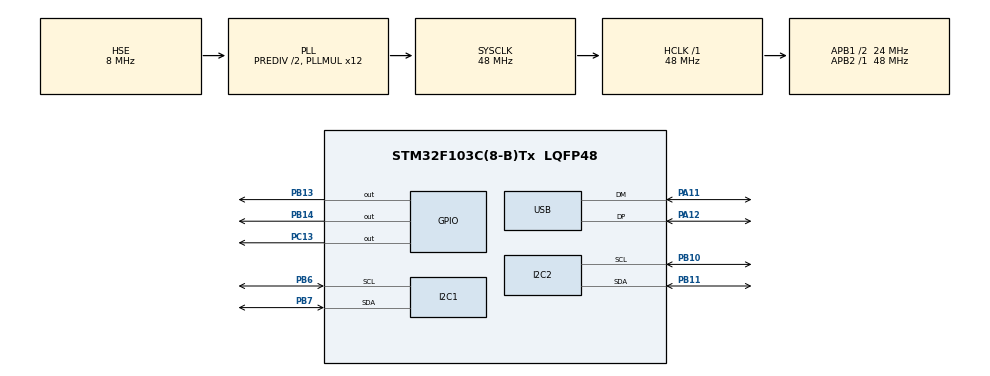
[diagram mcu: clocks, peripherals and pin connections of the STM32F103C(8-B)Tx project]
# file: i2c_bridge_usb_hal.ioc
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I2C1.OwnAddress=32
Mcu.Family=STM32F1
Mcu.Name=STM32F103C(8-B)Tx
Mcu.Package=LQFP48
NVIC.I2C1_ER_IRQn=true\:2\:0\:true\:false\:true\:true\:true\:true
NVIC.I2C1_EV_IRQn=true\:2\:0\:true\:false\:true\:true\:true\:true
NVIC.I2C2_ER_IRQn=true\:1\:0\:true\:false\:true\:true\:true\:true
NVIC.I2C2_EV_IRQn=true\:1\:0\:true\:false\:true\:true\:true\:true
NVIC.PriorityGroup=NVIC_PRIORITYGROUP_4
NVIC.USB_HP_CAN1_TX_IRQn=true\:0\:0\:false\:false\:true\:true\:true\:true
NVIC.USB_LP_CAN1_RX0_IRQn=true\:0\:0\:false\:false\:true\:false\:true\:true
PA11.Mode=Device
PA11.Signal=USB_DM
PA12.Mode=Device
PA12.Signal=USB_DP
PA13.Mode=Serial_Wire
PA13.Signal=SYS_JTMS-SWDIO
PA14.Mode=Serial_Wire
PA14.Signal=SYS_JTCK-SWCLK
PB10.Mode=I2C
PB10.Signal=I2C2_SCL
PB11.Mode=I2C
PB11.Signal=I2C2_SDA
PB13.GPIO_Speed=GPIO_SPEED_FREQ_MEDIUM
PB13.Signal=GPIO_Output
PB14.GPIO_Speed=GPIO_SPEED_FREQ_MEDIUM
PB14.Signal=GPIO_Output
PB6.Mode=I2C
PB6.Signal=I2C1_SCL
PB7.Mode=I2C
PB7.Signal=I2C1_SDA
PC13-TAMPER-RTC.GPIO_Speed=GPIO_SPEED_FREQ_MEDIUM
PC13-TAMPER-RTC.PinState=GPIO_PIN_SET
PC13-TAMPER-RTC.Signal=GPIO_Output
PD0-OSC_IN.Mode=HSE-External-Oscillator
PD0-OSC_IN.Signal=RCC_OSC_IN
PD1-OSC_OUT.Mode=HSE-External-Oscillator
PD1-OSC_OUT.Signal=RCC_OSC_OUT
ProjectManager.HeapSize=0x200
ProjectManager.StackSize=0x400
ProjectManager.TargetToolchain=STM32CubeIDE
RCC.AHBFreq_Value=48000000
RCC.APB1CLKDivider=RCC_HCLK_DIV2
RCC.APB1Freq_Value=24000000
RCC.APB1TimFreq_Value=48000000
RCC.APB2Freq_Value=48000000
RCC.APB2TimFreq_Value=48000000
RCC.HCLKFreq_Value=48000000
RCC.HSEDivPLL=RCC_HSE_PREDIV_DIV2
RCC.PLLMUL=RCC_PLL_MUL12
RCC.PLLSourceVirtual=RCC_PLLSOURCE_HSE
RCC.SYSCLKFreq_VALUE=48000000
RCC.SYSCLKSource=RCC_SYSCLKSOURCE_PLLCLK
RCC.USBFreq_Value=48000000
USB_DEVICE.CLASS_NAME_FS=CDC
USB_DEVICE.VirtualMode=Cdc
USB_DEVICE.VirtualModeFS=Cdc_FS
VP_USB_DEVICE_VS_USB_DEVICE_CDC_FS.Mode=CDC_FS
board=custom

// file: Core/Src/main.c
/* USER CODE BEGIN Header */
/**
  ******************************************************************************
  * @file           : main.c
  * @brief          : Main program body
  ******************************************************************************
  * @attention
  *
  * Copyright (c) 2025 STMicroelectronics.
  * All rights reserved.
  *
  * This software is licensed under terms that can be found in the LICENSE file
  * in the root directory of this software component.
  * If no LICENSE file comes with this software, it is provided AS-IS.
  *
  ******************************************************************************
  */
/* USER CODE END Header */
#include "main.h"
#include "usb_device.h"

/* USER CODE BEGIN Includes */
#include "usbd_cdc_if.h"
/* USER CODE END Includes */

/* USER CODE BEGIN PTD */
/**

█░░ █ █▀▄▀█ █ ▀█▀ ▄▀█ ▀█▀ █ █▀█ █▄░█ █▀ ░   █▀▀ █▀█ █▄░█ █▀ ▀█▀ █▀█ ▄▀█ █ █▄░█ ▀█▀ █▀
█▄▄ █ █░▀░█ █ ░█░ █▀█ ░█░ █ █▄█ █░▀█ ▄█ █   █▄▄ █▄█ █░▀█ ▄█ ░█░ █▀▄ █▀█ █ █░▀█ ░█░ ▄█
maximum data length of the Master (I2C2) = 1024bytes
maximum data Length of the Slave = 256bytes (when more - wrap around)
*/
/*I M P O R T A N T : Set the
  #define USBD_CUSTOM_HID_REPORT_DESC_SIZE     38
  in the usbd_conf.h file if a PC not see your device
  */
// USB externs
extern USBD_HandleTypeDef hUsbDeviceFS;
//I2C haeders
volatile wrp_i2c_slave_header i2cSlaveHeader;
volatile wrp_i2c_master_header i2cMasterHeader;

  unsigned char usb_buffer_for_report_dev[68];
  unsigned char usb_buffer_for_report_host[68];
//volatile unsigned char usb_buffer_for_report[68];

  uint8_t i2cRxSlaveBuffer[256];
  uint8_t i2cTxSlaveBuffer[256]= { "Alice was beginning to get very tired of sitting by her sister on the bank, and of having nothing to do: once or twice she had peeped into the book her sister was reading, but it had no pictures or conversations in it, 'and what is the use of a book,'.."};

  uint8_t i2cRxMasterBuffer[1024]={0};
  uint8_t i2cTxMasterBuffer[1204]={0};

LL_I2C_InitTypeDef I2C_InitStructSlave = {0};

LL_I2C_InitTypeDef I2C_InitStructMaster = {0};

//USB semaphore
volatile uint32_t adapterSemaphoreUSB;
//I2C semaphore
volatile uint32_t adapterSemaphoreI2C;

 statesHandle i2cAdapterStates;

/* USER CODE END PTD */

void SystemClock_Config(void);
static void MX_GPIO_Init(void);
static void MX_I2C1_Init(void);
static void MX_I2C2_Init(void);
/* USER CODE BEGIN PFP */

//a****callback***for*****USB**********CDC***
void USB_CDC_RxHandler(uint8_t* Buf, uint32_t Len) {
	// Copy data from USB internal buffer
	memcpy (usb_buffer_for_report_dev, Buf, Len);
	 //clear a semaphore
	adapterSemaphoreUSB &= ~semaphore_await_rx_usb;

}

/* H E L P:
 (1) When a Compiler doesn`t see ""usbd_customhid.h" file, right click on
 Project Explorer->Properties->MCU GCC Compiler->Include paths
 and add "../Middlewares/ST/STM32_USB_Device_Library/Class/CustomHID/Inc"
 (2) To add USB write complete callback,
   (A)open the "usbd_cdc_if.c" file
   and insert declaration:
   	   	   __weak void CDC_TxCpltCallback(void) {

   	   	   }
   (B)Call this function in ../Middlewares/ST/STM32_USB_Device_Library/Class/CDC/Src/usbd_cdc.c file
   in function: static uint8_t  USBD_CDC_DataIn()
  .....
  else
    {
      hcdc->TxState = 0U;
     CDC_TxCpltCallback();  //call here!

    }
    (C) Re-define this function in main.c:
    void CDC_TxCpltCallback(void) {
    adapterSemaphoreUSB &= ~semaphore_await_tx_usb;
}

 * */
void CDC_TxCpltCallback (void) {
    adapterSemaphoreUSB &= ~semaphore_await_tx_usb;
}

void i2c_usr_slave_init (volatile wrp_i2c_slave_header*   header) {
	 //disable I2C
	 header->hDevice->CR1 &= ~I2C_CR1_PE;
  //write own address
	 header->hDevice->OAR1 = header->i2cSlaveAddress;
  //enable acknowledgements
	 header->hDevice->CR1 |=  I2C_CR1_ACK;
	 //enable event interrupts and bufer interrupts
	 header->hDevice->CR2 |= I2C_CR2_ITEVTEN|I2C_CR2_ITBUFEN|I2C_CR2_ITERREN;
	  //turn I2C on, enable acknowledge
	 header->hDevice->CR1 |= I2C_CR1_PE|I2C_CR1_ACK;
}

void i2c_usr_master_init (volatile wrp_i2c_master_header* header) {
	 //enable own address
	 header->hDevice->CR1 &= ~I2C_CR1_PE;
	  //own address equals zero - master
	 header->hDevice->CR1 |=  I2C_CR1_ACK;
	 //enable event interrupts and bufer interrupts
	 header->hDevice->CR2 |= I2C_CR2_ITEVTEN|I2C_CR2_ITBUFEN|I2C_CR2_ITERREN;
	  //turn I2C on, enable acknowledge
	 header->hDevice->CR1 |= I2C_CR1_PE|I2C_CR1_ACK;

}

void resetI2cSetSpeedMaster (volatile wrp_i2c_master_header* mHeader, LL_I2C_InitTypeDef *mInitStruct, uint32_t speed) {

      //reset master
         I2C2->CR1 |= I2C_CR1_SWRST;
		   HAL_Delay(2);
		   I2C2->CR1  = 0;
			///set speed
		   mInitStruct->ClockSpeed = speed;
		 LL_I2C_Init(I2C2, mInitStruct);
		 i2c_usr_master_init(mHeader);

}

void resetI2cSetSpeedSlave (volatile wrp_i2c_slave_header* sHeader, LL_I2C_InitTypeDef *sInitStruct, uint32_t speed, uint8_t addr ) {
	//reset slave
	        I2C1->CR1 |= I2C_CR1_SWRST;
	      	   HAL_Delay(2);
	      	   I2C1->CR1  = 0;
	      	   	///set speed
	      	   sInitStruct->ClockSpeed = speed;
	      	   sInitStruct->OwnAddress1 = addr;
	      	   sHeader->i2cSlaveAddress = addr;
	      	 LL_I2C_Init(I2C1, sInitStruct);
	      	 i2c_usr_slave_init(sHeader);
}

void greenLedOn (void) {
	GPIOC->BSRR = GPIO_BSRR_BR13;
}

void greenLedOff (void) {
	GPIOC->BSRR = GPIO_BSRR_BS13;
}

uint8_t writeI2cAndWaitEnd (volatile wrp_i2c_master_header* i2cHeader, unsigned char address,   unsigned char* bufferPtr, unsigned short amountOfData) {
	//for safety:
				if (amountOfData >= i2cHeader->masterI2cBufferLimit){
					amountOfData = i2cHeader->masterI2cBufferLimit;
				}
   //clean old saved flags:
	i2cHeader->i2cMasterErrorFlags = 0;
 //set memory address
	i2cHeader->i2cTxMasterBuffer = bufferPtr;
  //set slave address-:
	i2cHeader->i2cMasterAddress = address;
  //set write mode:
	i2cHeader->WriteFlag = 1;
  //set amount of data:
	i2cHeader->i2cMasterTxPacketLength = amountOfData;
  //set the semaphore
	adapterSemaphoreI2C |= semaphore_await_tx_i2c;
	//start transaction:
	i2cHeader->hDevice->CR1 |= I2C_CR1_START;
	//wait until all the data will be sent. Now is time to send STOP command:
	while (adapterSemaphoreI2C & semaphore_await_tx_i2c){}
	//await until busy to stop sequence complete:
	while (i2cHeader->hDevice->SR2 & I2C_SR2_BUSY){}
	//checking for errors:
	switch (i2cHeader->i2cMasterErrorFlags) {
	case I2C_SR1_AF:
		return adapter_AF;
		break;
	case I2C_SR1_BERR:
		return adapter_BERR;
	     break;
	case I2C_SR1_ARLO:
		return adapter_ARLO;
		break;
	case I2C_SR1_OVR:
		return adapter_OVR;
		 break;
	default:
		return 0;
	}

}

int readI2cAndWaitEnd (volatile wrp_i2c_master_header* i2cHeader, unsigned char address,   unsigned char* bufferPtr, unsigned short amountOfData) {
	//for safety
	if (amountOfData >= i2cHeader->masterI2cBufferLimit){
						amountOfData = i2cHeader->masterI2cBufferLimit;
	}
	//clean old saved flags:
		i2cHeader->i2cMasterErrorFlags = 0;
	 //set memory address
		i2cHeader->i2cRxMasterBuffer = bufferPtr;
	  //set slave address-:
		i2cHeader->i2cMasterAddress = address;
	  //set receiver mode
		i2cHeader->WriteFlag = 0;
	  //set amount of data:
		i2cHeader->i2cMasterRxPacketLength = amountOfData;
	  //set the semaphore
		adapterSemaphoreI2C |= semaphore_await_rx_i2c;
		//start transaction:
		i2cHeader->hDevice->CR1 |= I2C_CR1_START;
		//wait until all the data will be sent. Now is time to send STOP command:
		while (adapterSemaphoreI2C & semaphore_await_rx_i2c){}
		//await until busy to stop sequence complete:
		while (i2cHeader->hDevice->SR2 & I2C_SR2_BUSY){}
		//checking for errors:
		switch (i2cHeader->i2cMasterErrorFlags) {
		case I2C_SR1_AF:
			return adapter_AF;
			break;
		case I2C_SR1_BERR:
			return adapter_BERR;
		     break;
		case I2C_SR1_ARLO:
			return adapter_ARLO;
			break;
		case I2C_SR1_OVR:
			return adapter_OVR;
			 break;
		default:
			return 0;
		}
  return 0;
}

/* USER CODE END PFP */

/* USER CODE BEGIN 0 */
/* NOTE: number of data to be sent should be written in pToStates->numBytesToTransaction
*/

void sendReportToHost(    uint8_t* oneFrameBuffer){
	      //1)set the semaphore - await end of transmission
		adapterSemaphoreUSB |= semaphore_await_tx_usb;
		  //2)send data
		CDC_Transmit_FS(oneFrameBuffer, 64);

		  //4)await until transaction was finished
		while (adapterSemaphoreUSB & semaphore_await_tx_usb){/*do nothing*/}
}

void awaitReportFromHost (void) {
	 //1)set the semaphore - await end of transmission
			adapterSemaphoreUSB |= semaphore_await_rx_usb;
			  //4)await until transaction was finished
		while (adapterSemaphoreUSB & semaphore_await_rx_usb){/*do nothing*/}
}

void setControlForNewHostData (void) {
	//1)set the semaphore - await end of transmission
		adapterSemaphoreUSB |= semaphore_await_rx_usb;
}

void checkForNewHostDataOrAwait (void) {
	  //4)await until transaction was finished
		while (adapterSemaphoreUSB & semaphore_await_rx_usb){/*do nothing*/}
}

int32_t readUsbFromI2c (statesHandle* pToStates,
						  uint8_t* oneFrameBufferDev,
						  uint8_t* oneFrameBufferHost) {

	unsigned char temp=0;
	unsigned char* tempCharPtr =0;
	pToStates->typeOfAction = data_to_host;
	//1)Read data from I2C slave:
	temp = readI2cAndWaitEnd(&i2cMasterHeader, pToStates->slaveAddress, pToStates->reassembledDataArray, pToStates->numBytesToTransaction);
	//2)Send returned status  to a Host:
	oneFrameBufferHost[0]  = temp;
	sendReportToHost(oneFrameBufferHost);

	//3)When the transaction fail - return
	if (temp != 0) {
		return -1;
	}
	//4)When a transaction successfull - wait a request 'data_to_host' from a host

	/*3)Initialize the pointer (it was changed in previous transaction  */
	tempCharPtr = pToStates->reassembledDataArray;
	pToStates->buffPtr = tempCharPtr;
	//5)Send chunks to a host consequently:
	/*Iterate, until str.numUsbTransations == 1 */
		while (pToStates->numUsbTransations > 1) {
			awaitReportFromHost();
			if (oneFrameBufferDev[0] != data_to_host)
			   {
					//when incorrect request from a host - return error
					oneFrameBufferHost[0] = adapter_other_error;
					return -1;
			   }
			  //4.1)copy 64 bytes from I2C buffer
			memcpy(oneFrameBufferHost, pToStates->buffPtr, 64);
			pToStates->buffPtr += 64;
			  //4.3)decrease number of transactions:
			pToStates->numUsbTransations--;
			  //4.4)decrease amount of bytes:
			pToStates->numBytesToTransaction -= 64;
			  //4.5)Response to the host with a data packet
			sendReportToHost( oneFrameBufferHost);

		}
		//there is only one piece of data
		 //5) Waiting new data from a host
		awaitReportFromHost();
				if (oneFrameBufferDev[0] != data_to_host) {
						//when incorrect request from a host - return error
						oneFrameBufferHost[0] = adapter_other_error;
						return -1;
				}
		  /*6) copy last data piece into the buffer */
			memcpy(oneFrameBufferHost ,pToStates->buffPtr,  pToStates->numBytesToTransaction);
			 //9)Response to the host with the last  data packet:
			sendReportToHost( oneFrameBufferHost);
           return 0;

}

int32_t writeUsbSlaveTxBuffer(  statesHandle* pToStates,
								uint8_t* oneFrameBufferDev,
								 uint8_t* oneFrameBufferHost
								 ) {

		unsigned char* tempCharPtr =0;
		pToStates->typeOfAction = data_from_host;

		/*3)Initialize the pointer (it was changed in previous transaction  */
		tempCharPtr = pToStates->reassembledDataArray;
		pToStates->buffPtr = tempCharPtr;
		/*4)Iterate, until str.numUsbTransations == 1 */
		while (pToStates->numUsbTransations > 1) {
			/*4.1)Send to a host request 'data_from_host':*/
			oneFrameBufferHost[0] = data_from_host;
			sendReportToHost(oneFrameBufferHost);

			/*4.2)await new message from the host (data will be stored in the 'oneFrameBuffer'):*/
			awaitReportFromHost();
			  //4.3)copy 64 bytes into I2C buffer
			memcpy(pToStates->buffPtr, oneFrameBufferDev, 64);
			pToStates->buffPtr += 64;
			  //4.4)decrease number of transactions:
			pToStates->numUsbTransations--;
			  //4.5)decrease amount of bytes:
			pToStates->numBytesToTransaction -= 64;

		}
		/*5)When there is only one transaction, request the last data from a host:
		 */
		oneFrameBufferHost[0] = data_from_host;
		sendReportToHost(oneFrameBufferHost);
		awaitReportFromHost();
		memcpy(pToStates->buffPtr, oneFrameBufferDev, pToStates->numBytesToTransaction);
       return 0;
}

int32_t readUsbLastReadDataOfSlave(statesHandle* pToStates,
								  uint8_t* oneFrameBufferDev,
								  uint8_t* oneFrameBufferHost){

	pToStates->typeOfAction = data_to_host;
	pToStates->buffPtr = pToStates->reassembledDataArray;
	//calculate amount of transactions

	//send success and data size:
	oneFrameBufferHost[0] = 0;
	oneFrameBufferHost[1] = i2cSlaveHeader.i2cRxSlaveIndex & 0x00ff;
	oneFrameBufferHost[2] = (i2cSlaveHeader.i2cRxSlaveIndex & 0xff00) >> 8;
	//2)Send OK (byte0) and amount of data (byte1, 2)
	sendReportToHost(oneFrameBufferHost);

	//3)write data to host in sequence
	/*Iterate, until str.numUsbTransations == 1 */
		while (pToStates->numUsbTransations > 1) {
			awaitReportFromHost();
			if (oneFrameBufferDev[0] != data_to_host)
			   {
					//when incorrect request from a host - return error
					oneFrameBufferHost[0] = adapter_other_error;
					return -1;
			   }
			  //4.1)copy 64 bytes from I2C buffer
			memcpy(oneFrameBufferHost, pToStates->buffPtr, 64);
			pToStates->buffPtr += 64;
			  //4.3)decrease number of transactions:
			pToStates->numUsbTransations--;
			  //4.4)decrease amount of bytes:
			pToStates->numBytesToTransaction -= 64;
			  //4.5)Response to the host with a data packet
			sendReportToHost( oneFrameBufferHost);

		}
		//there is only one piece of data
		 //5) Waiting new data from a host
		awaitReportFromHost();
				if (oneFrameBufferDev[0] != data_to_host) {
						//when incorrect request from a host - return error
						oneFrameBufferHost[0] = adapter_other_error;
						return -1;
				}
		  /*6) copy last data piece into the buffer */
			memcpy(oneFrameBufferHost ,pToStates->buffPtr,  pToStates->numBytesToTransaction);
			 //9)Response to the host with the last  data packet:
			sendReportToHost( oneFrameBufferHost);
           return 0;

}

int32_t writeUsbToI2c (statesHandle* pToStates,
		  uint8_t* oneFrameBufferDev,
		  uint8_t* oneFrameBufferHost) {
		  uint16_t amountOfDataToProcessing =  pToStates->numBytesToTransaction;
		  unsigned char temp=0;
		  unsigned char* tempCharPtr =0;
	pToStates->typeOfAction = data_from_host;

	/*3)Initialize the pointer (it was changed in previous transaction  */
	tempCharPtr = pToStates->reassembledDataArray;
	pToStates->buffPtr = tempCharPtr;
	/*4)Iterate, until str.numUsbTransations == 1 */
	while (pToStates->numUsbTransations > 1) {
		/*4.1)Send to a host request 'data_from_host':*/
		oneFrameBufferHost[0] = data_from_host;
		sendReportToHost(oneFrameBufferHost);

		/*4.2)await new message from the host (data will be stored in the 'oneFrameBuffer'):*/
		awaitReportFromHost();
		  //4.3)copy 64 bytes into I2C buffer
		memcpy(pToStates->buffPtr, oneFrameBufferDev, 64);
		pToStates->buffPtr += 64;
		  //4.4)decrease number of transactions:
		pToStates->numUsbTransations--;
		  //4.5)decrease amount of bytes:
		pToStates->numBytesToTransaction -= 64;

	}
	/*5)When there is only one transaction, request the last data from a host:
	 */
	oneFrameBufferHost[0] = data_from_host;
	sendReportToHost(oneFrameBufferHost);

	/*6)await new message from the host (data will be stored in the 'oneFrameBuffer'):*/
	awaitReportFromHost();
	/*7) copy remainder into the buffer */
	memcpy(pToStates->buffPtr, oneFrameBufferDev , pToStates->numBytesToTransaction);
    //9)Restore value amount of bytes  for a transaction:
	pToStates->numBytesToTransaction = pToStates->buffPtr - pToStates->reassembledDataArray;
	//10)Start I2C transaction:
	temp = writeI2cAndWaitEnd( &i2cMasterHeader, pToStates->slaveAddress, pToStates->reassembledDataArray, amountOfDataToProcessing );
	//11)Send result of operation to the host:
	oneFrameBufferHost[0]= temp;
	sendReportToHost( oneFrameBufferHost);
    pToStates->typeOfAction = 0;
    return 0;
}

//----------------------------------------------------------------------------
int32_t commandDispatcher (statesHandle* pToStates,
							  uint8_t* oneFrameBufferHost, //data buffer for the Host (outgoing)
							  uint8_t* oneFrameBufferDev   //data buffer for device (incoming)
							) {
	uint32_t temp32_1;
	uint8_t temp8_1;
  //is the state mashine busy?
	if (pToStates->typeOfAction != 0) {
      //write error code in report
		oneFrameBufferHost[0] = adapter_busy;
		sendReportToHost(oneFrameBufferHost);
		 greenLedOff();
		return -2;
	}
	greenLedOn();
	//2)what is the command?
	switch (oneFrameBufferDev[0]) {
	case write_to_i2c_dev:
		//write operation
		//1)Write data from one-frame buffer into a structure:

		  pToStates->typeOfAction = oneFrameBufferDev[0];
		  pToStates->numBytesToTransaction = (oneFrameBufferDev[2] << 8) | oneFrameBufferDev[1];
		  pToStates->slaveAddress = oneFrameBufferDev[3];
		//2)amount of transactions (roughly):
		  pToStates->numUsbTransations = pToStates->numBytesToTransaction / 64;
		//3)When there is a remainder - add an extra transaction
		if ((pToStates->numBytesToTransaction % 64) > 0) {
			pToStates->numUsbTransations++;
		}
		//4)Initialize the main non-changable pointer (I2C full packet buffer):
		    pToStates->reassembledDataArray = i2cTxMasterBuffer;
		//5)Write rouine:
		 writeUsbToI2c(pToStates,  oneFrameBufferDev, oneFrameBufferHost);

		break;
	case read_from_i2c_dev:
		//read operation

		//1)Write data from one-frame buffer into a structure:
		  pToStates->typeOfAction = oneFrameBufferDev[0];
		  pToStates->numBytesToTransaction = (oneFrameBufferDev[2] << 8) | oneFrameBufferDev[1];
		  pToStates->slaveAddress = oneFrameBufferDev[3];
		//2)amount of transactions (roughly):
		  pToStates->numUsbTransations = pToStates->numBytesToTransaction / 64;
		//3)When there is a remainder - add an extra transaction
		if ((pToStates->numBytesToTransaction % 64) > 0) {
			pToStates->numUsbTransations++;
		}
		//4)Initialize the main non-changable pointer (I2C full packet buffer):
		    pToStates->reassembledDataArray = i2cRxMasterBuffer;
		    readUsbFromI2c(pToStates,  oneFrameBufferDev, oneFrameBufferHost);

		break;
	case read_last_stub_rx_i2c:
		//1)Write data from one-frame buffer into a structure:
				  pToStates->typeOfAction = oneFrameBufferDev[0];
				  pToStates->numBytesToTransaction = i2cSlaveHeader.i2cRxSlaveIndex;

				//2)amount of transactions (roughly):
				  pToStates->numUsbTransations = pToStates->numBytesToTransaction / 64;
				//3)When there is a remainder - add an extra transaction
				if ((pToStates->numBytesToTransaction % 64) > 0) {
					pToStates->numUsbTransations++;
				}
				//4)Initialize the main non-changable pointer (I2C full packet buffer):
				    pToStates->reassembledDataArray = i2cRxSlaveBuffer;
				    readUsbLastReadDataOfSlave(pToStates,  oneFrameBufferDev, oneFrameBufferHost);

	break;
	case  reset_interface:
		//reset I2C
		break;
	case write_tx_stub_buffer:
		//1)Write data from one-frame buffer into a structure:

		pToStates->typeOfAction = oneFrameBufferDev[0];
		pToStates->numBytesToTransaction = (oneFrameBufferDev[2] << 8) | oneFrameBufferDev[1];
		//2)amount of transactions (roughly):
		  pToStates->numUsbTransations = pToStates->numBytesToTransaction / 64;
		//3)When there is a remainder - add an extra transaction
		if ((pToStates->numBytesToTransaction % 64) > 0) {
			pToStates->numUsbTransations++;
		}
		//4)Initialize the main non-changable pointer (I2C full packet buffer):
			pToStates->reassembledDataArray = i2cTxSlaveBuffer;
		//5)
			 writeUsbSlaveTxBuffer(pToStates,  oneFrameBufferDev, oneFrameBufferHost);
		break;
	case setup_interface_i2c:
		//reset interfaces (a slave and a master) and setup parameters: slave address and speed of both
		memcpy(&temp32_1, oneFrameBufferDev + 4, 4);
		memcpy(&temp8_1, oneFrameBufferDev + 8, 1);
		temp8_1 <<= 1;
		resetI2cSetSpeedSlave(&i2cSlaveHeader, &I2C_InitStructSlave, temp32_1, temp8_1);
		resetI2cSetSpeedMaster(&i2cMasterHeader, &I2C_InitStructMaster, temp32_1);
		oneFrameBufferHost[0] = 0;
		sendReportToHost(oneFrameBufferHost);
		break;
	default:
		//write error code in report
		oneFrameBufferHost[0] = adapter_other_error;
		sendReportToHost(oneFrameBufferHost);
		 greenLedOff();
		return -2;
	}
	pToStates->typeOfAction = 0;
	 greenLedOff();
	return 0;

}
/* USER CODE END 0 */

int main(void)
{
  /* USER CODE BEGIN 1 */
   /*

███╗░░░███╗░█████╗░██╗███╗░░██╗
████╗░████║██╔══██╗██║████╗░██║
██╔████╔██║███████║██║██╔██╗██║
██║╚██╔╝██║██╔══██║██║██║╚████║
██║░╚═╝░██║██║░░██║██║██║░╚███║
╚═╝░░░░░╚═╝╚═╝░░╚═╝╚═╝╚═╝░░╚══╝
     */
  /* USER CODE END 1 */

  /* MCU Configuration--------------------------------------------------------*/

  /* Reset of all peripherals, Initializes the Flash interface and the Systick. */
  HAL_Init();

  /* Configure the system clock */
  SystemClock_Config();

  /* Initialize all configured peripherals */
  MX_GPIO_Init();
  MX_I2C1_Init();
  MX_I2C2_Init();
  MX_USB_DEVICE_Init();
  /* USER CODE BEGIN 2 */

  I2C_InitStructMaster.PeripheralMode = LL_I2C_MODE_I2C;
  I2C_InitStructMaster.ClockSpeed = 100000;
  I2C_InitStructMaster.DutyCycle = LL_I2C_DUTYCYCLE_2;
  I2C_InitStructMaster.OwnAddress1 = 0;
  I2C_InitStructMaster.TypeAcknowledge = LL_I2C_ACK;
  I2C_InitStructMaster.OwnAddrSize = LL_I2C_OWNADDRESS1_7BIT;

  I2C_InitStructSlave.PeripheralMode = LL_I2C_MODE_I2C;
  I2C_InitStructSlave.ClockSpeed = 100000;
  I2C_InitStructSlave.DutyCycle = LL_I2C_DUTYCYCLE_2;
  I2C_InitStructSlave.OwnAddress1 = 64;
  I2C_InitStructSlave.TypeAcknowledge = LL_I2C_ACK;
  I2C_InitStructSlave.OwnAddrSize = LL_I2C_OWNADDRESS1_7BIT;

  /*3) Initialize an instance of a structure,
   these values will be used in initialization and inside interrupts
   to restore options in DMA after transactions*/
      i2cSlaveHeader.hDevice = I2C1;  //device
      i2cSlaveHeader.i2cRxSlaveBuffer = i2cRxSlaveBuffer;  //Rx bufer
      i2cSlaveHeader.i2cTxSlaveBuffer = i2cTxSlaveBuffer; //Tx bufer
      i2cSlaveHeader.i2cSlaveRxPacketLength = 4;
      i2cSlaveHeader.i2cSlaveTxPacketLength = 4;
      i2cSlaveHeader.slaveI2cBufferLimit = 255;  //maximum length (not used)
      i2cSlaveHeader.i2cSlaveAddress = 0x40;  //must be shifted - because bit 0 - R/W
      i2cSlaveHeader.dmaRxChanel = DMA1_Channel7;
      i2cSlaveHeader.dmaTxChanel = DMA1_Channel6;
      //master initialization
	  i2cMasterHeader.dmaRxChanel = 0;
	  i2cMasterHeader.dmaTxChanel = 0;
	  i2cMasterHeader.hDevice = I2C2;
	  i2cMasterHeader.i2cMasterAddress = 0x20;
	  i2cMasterHeader.i2cMasterRxPacketLength = 16; //
	  i2cMasterHeader.i2cMasterTxPacketLength = 16;
	  i2cMasterHeader.i2cRxMasterBuffer = i2cRxMasterBuffer;
	  i2cMasterHeader.i2cTxMasterBuffer =  i2cTxMasterBuffer;
	  i2cMasterHeader.masterI2cBufferLimit = 1024;
	  i2cMasterHeader.dmaRxChanel = 0;
	  i2cMasterHeader.dmaTxChanel = 0;
	  i2cMasterHeader.WriteFlag = 1;

      //5) Init DMA and slave I2C ind Rx and Tx modes:
      i2c_usr_slave_init(&i2cSlaveHeader);
      //6)When there is the BUSY I2C bug, clear I2C and init again:
        if (I2C1->SR2 & I2C_SR2_BUSY) {
      	  //when busy bug, clean it by reset:
        	resetI2cSetSpeedSlave(&i2cSlaveHeader, &I2C_InitStructSlave, 100000, 64);
         }
	//init a master (RCC, GPIO initialization must be done before)
			i2c_usr_master_init(&i2cMasterHeader);
			if (I2C2->SR2 & I2C_SR2_BUSY) {
				//when the busy bug, clean it by reset:
				resetI2cSetSpeedMaster(&i2cMasterHeader, &I2C_InitStructMaster, 100000);
			}

  /* USER CODE END 2 */

  /* Infinite loop */
  /* USER CODE BEGIN WHILE */
			/*

			█░█░█ █░█ █ █░░ █▀▀
			▀▄▀▄▀ █▀█ █ █▄▄ ██▄
			 * */

  while (1)
  {

	  //readI2cAndWaitEnd(&i2cMasterHeader,32, i2cRxMasterBuffer, 32);

	 // 1)Set a semaphore
	   adapterSemaphoreUSB |= semaphore_await_rx_usb;
        while (adapterSemaphoreUSB & semaphore_await_rx_usb) {
    	//await a new data from a host
     }

    commandDispatcher(&i2cAdapterStates,  usb_buffer_for_report_host, usb_buffer_for_report_dev);

    /* USER CODE END WHILE */

  }
}

void SystemClock_Config(void)
{
  RCC_OscInitTypeDef RCC_OscInitStruct = {0};
  RCC_ClkInitTypeDef RCC_ClkInitStruct = {0};
  RCC_PeriphCLKInitTypeDef PeriphClkInit = {0};

  /** Initializes the RCC Oscillators according to the specified parameters
  * in the RCC_OscInitTypeDef structure.
  */
  RCC_OscInitStruct.OscillatorType = RCC_OSCILLATORTYPE_HSE;
  RCC_OscInitStruct.HSEState = RCC_HSE_ON;
  RCC_OscInitStruct.HSEPredivValue = RCC_HSE_PREDIV_DIV2;
  RCC_OscInitStruct.HSIState = RCC_HSI_ON;
  RCC_OscInitStruct.PLL.PLLState = RCC_PLL_ON;
  RCC_OscInitStruct.PLL.PLLSource = RCC_PLLSOURCE_HSE;
  RCC_OscInitStruct.PLL.PLLMUL = RCC_PLL_MUL12;
  if (HAL_RCC_OscConfig(&RCC_OscInitStruct) != HAL_OK)
  {
    Error_Handler();
  }

  /** Initializes the CPU, AHB and APB buses clocks
  */
  RCC_ClkInitStruct.ClockType = RCC_CLOCKTYPE_HCLK|RCC_CLOCKTYPE_SYSCLK
                              |RCC_CLOCKTYPE_PCLK1|RCC_CLOCKTYPE_PCLK2;
  RCC_ClkInitStruct.SYSCLKSource = RCC_SYSCLKSOURCE_PLLCLK;
  RCC_ClkInitStruct.AHBCLKDivider = RCC_SYSCLK_DIV1;
  RCC_ClkInitStruct.APB1CLKDivider = RCC_HCLK_DIV2;
  RCC_ClkInitStruct.APB2CLKDivider = RCC_HCLK_DIV1;

  if (HAL_RCC_ClockConfig(&RCC_ClkInitStruct, FLASH_LATENCY_1) != HAL_OK)
  {
    Error_Handler();
  }
  PeriphClkInit.PeriphClockSelection = RCC_PERIPHCLK_USB;
  PeriphClkInit.UsbClockSelection = RCC_USBCLKSOURCE_PLL;
  if (HAL_RCCEx_PeriphCLKConfig(&PeriphClkInit) != HAL_OK)
  {
    Error_Handler();
  }
}

static void MX_I2C1_Init(void)
{

  LL_I2C_InitTypeDef I2C_InitStruct = {0};

  LL_GPIO_InitTypeDef GPIO_InitStruct = {0};

  LL_APB2_GRP1_EnableClock(LL_APB2_GRP1_PERIPH_GPIOB);
  /**I2C1 GPIO Configuration
  PB6   ------> I2C1_SCL
  PB7   ------> I2C1_SDA
  */
  GPIO_InitStruct.Pin = LL_GPIO_PIN_6|LL_GPIO_PIN_7;
  GPIO_InitStruct.Mode = LL_GPIO_MODE_ALTERNATE;
  GPIO_InitStruct.Speed = LL_GPIO_SPEED_FREQ_HIGH;
  GPIO_InitStruct.OutputType = LL_GPIO_OUTPUT_OPENDRAIN;
  LL_GPIO_Init(GPIOB, &GPIO_InitStruct);

  /* Peripheral clock enable */
  LL_APB1_GRP1_EnableClock(LL_APB1_GRP1_PERIPH_I2C1);

  /* I2C1 interrupt Init */
  NVIC_SetPriority(I2C1_EV_IRQn, NVIC_EncodePriority(NVIC_GetPriorityGrouping(),2, 0));
  NVIC_EnableIRQ(I2C1_EV_IRQn);
  NVIC_SetPriority(I2C1_ER_IRQn, NVIC_EncodePriority(NVIC_GetPriorityGrouping(),2, 0));
  NVIC_EnableIRQ(I2C1_ER_IRQn);

  /** I2C Initialization
  */
  LL_I2C_DisableOwnAddress2(I2C1);
  LL_I2C_DisableGeneralCall(I2C1);
  LL_I2C_EnableClockStretching(I2C1);
  I2C_InitStruct.PeripheralMode = LL_I2C_MODE_I2C;
  I2C_InitStruct.ClockSpeed = 100000;
  I2C_InitStruct.DutyCycle = LL_I2C_DUTYCYCLE_2;
  I2C_InitStruct.OwnAddress1 = 64;
  I2C_InitStruct.TypeAcknowledge = LL_I2C_ACK;
  I2C_InitStruct.OwnAddrSize = LL_I2C_OWNADDRESS1_7BIT;
  LL_I2C_Init(I2C1, &I2C_InitStruct);
  LL_I2C_SetOwnAddress2(I2C1, 0);

}

static void MX_I2C2_Init(void)
{

  LL_I2C_InitTypeDef I2C_InitStruct = {0};

  LL_GPIO_InitTypeDef GPIO_InitStruct = {0};

  LL_APB2_GRP1_EnableClock(LL_APB2_GRP1_PERIPH_GPIOB);
  /**I2C2 GPIO Configuration
  PB10   ------> I2C2_SCL
  PB11   ------> I2C2_SDA
  */
  GPIO_InitStruct.Pin = LL_GPIO_PIN_10|LL_GPIO_PIN_11;
  GPIO_InitStruct.Mode = LL_GPIO_MODE_ALTERNATE;
  GPIO_InitStruct.Speed = LL_GPIO_SPEED_FREQ_HIGH;
  GPIO_InitStruct.OutputType = LL_GPIO_OUTPUT_OPENDRAIN;
  LL_GPIO_Init(GPIOB, &GPIO_InitStruct);

  /* Peripheral clock enable */
  LL_APB1_GRP1_EnableClock(LL_APB1_GRP1_PERIPH_I2C2);

  /* I2C2 interrupt Init */
  NVIC_SetPriority(I2C2_EV_IRQn, NVIC_EncodePriority(NVIC_GetPriorityGrouping(),1, 0));
  NVIC_EnableIRQ(I2C2_EV_IRQn);
  NVIC_SetPriority(I2C2_ER_IRQn, NVIC_EncodePriority(NVIC_GetPriorityGrouping(),1, 0));
  NVIC_EnableIRQ(I2C2_ER_IRQn);

  /** I2C Initialization
  */
  LL_I2C_DisableOwnAddress2(I2C2);
  LL_I2C_DisableGeneralCall(I2C2);
  LL_I2C_EnableClockStretching(I2C2);
  I2C_InitStruct.PeripheralMode = LL_I2C_MODE_I2C;
  I2C_InitStruct.ClockSpeed = 100000;
  I2C_InitStruct.DutyCycle = LL_I2C_DUTYCYCLE_2;
  I2C_InitStruct.OwnAddress1 = 0;
  I2C_InitStruct.TypeAcknowledge = LL_I2C_ACK;
  I2C_InitStruct.OwnAddrSize = LL_I2C_OWNADDRESS1_7BIT;
  LL_I2C_Init(I2C2, &I2C_InitStruct);
  LL_I2C_SetOwnAddress2(I2C2, 0);

}

static void MX_GPIO_Init(void)
{
  LL_GPIO_InitTypeDef GPIO_InitStruct = {0};

  /* GPIO Ports Clock Enable */
  LL_APB2_GRP1_EnableClock(LL_APB2_GRP1_PERIPH_GPIOC);
  LL_APB2_GRP1_EnableClock(LL_APB2_GRP1_PERIPH_GPIOD);
  LL_APB2_GRP1_EnableClock(LL_APB2_GRP1_PERIPH_GPIOB);
  LL_APB2_GRP1_EnableClock(LL_APB2_GRP1_PERIPH_GPIOA);

  /**/
  LL_GPIO_SetOutputPin(GPIOC, LL_GPIO_PIN_13);

  /**/
  LL_GPIO_ResetOutputPin(GPIOB, LL_GPIO_PIN_13|LL_GPIO_PIN_14);

  /**/
  GPIO_InitStruct.Pin = LL_GPIO_PIN_13;
  GPIO_InitStruct.Mode = LL_GPIO_MODE_OUTPUT;
  GPIO_InitStruct.Speed = LL_GPIO_SPEED_FREQ_MEDIUM;
  GPIO_InitStruct.OutputType = LL_GPIO_OUTPUT_PUSHPULL;
  LL_GPIO_Init(GPIOC, &GPIO_InitStruct);

  /**/
  GPIO_InitStruct.Pin = LL_GPIO_PIN_13|LL_GPIO_PIN_14;
  GPIO_InitStruct.Mode = LL_GPIO_MODE_OUTPUT;
  GPIO_InitStruct.Speed = LL_GPIO_SPEED_FREQ_MEDIUM;
  GPIO_InitStruct.OutputType = LL_GPIO_OUTPUT_PUSHPULL;
  LL_GPIO_Init(GPIOB, &GPIO_InitStruct);

}

void Error_Handler(void)
{
  __disable_irq();
  while (1)
  {
  }
}
